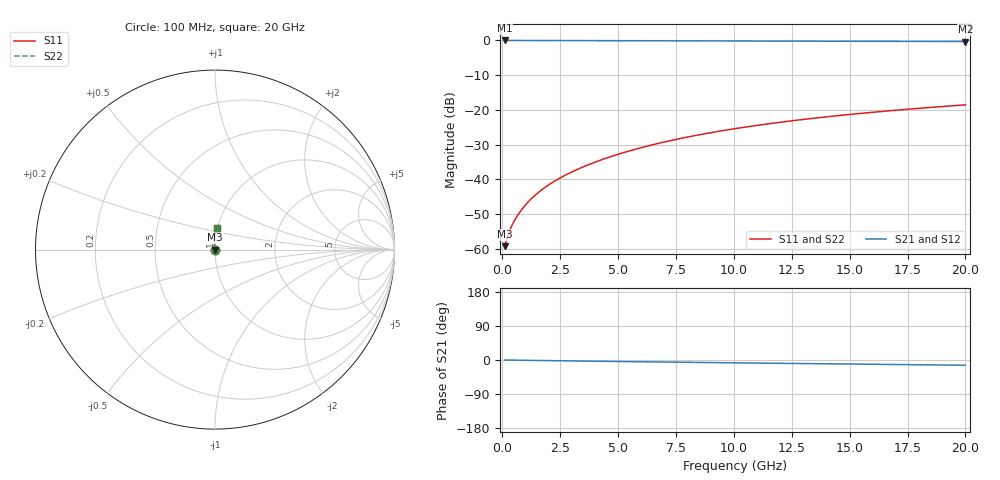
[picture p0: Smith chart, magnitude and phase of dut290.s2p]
! Touchstone file exported from HFSS 2024.1.0
!  File:  C:/UserFiles/LocalFiles/RDL_TSV_Batchsim/temp_RDL_bottom_290_1778703355.aedt
!  Generated:  04:18:20 AM May 14, 2026
!  Design:  RDL_bottom
!  Project:  temp_RDL_bottom_290_1778703355
!  Setup:  Setup1
!  Solution:  Sweep
! Variables:
!  dtsv = 10.80580581um
!  hbump = 3um
!  htsv = 55.9um
!  ldown = 202.14um
!  lrdl = 100um
!  p = 40
!  p1 = 44.33um
!  rhole = 1um
!  t = 450um
!  tdown = 3.55um
!  trdl = 3.915915916um
!  wdown = 28.42um
!  wrdl = 20um
# GHz S MA R 50.000000
! Terminal data exported
! Port[1] = RDL1_T1
! Port[2] = RDL1_T2
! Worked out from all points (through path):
!   200 points, 100 MHz to 20 GHz, reference 50 ohm
!   highest |S21| = -0.01 dB at 100 MHz (marker M1); lowest = -0.3 dB at 20 GHz (marker M2)
!   group delay of S21, straight-line fit = 1.88 ps
!   lowest |S11| = -59.2 dB at 100 MHz (marker M3), VSWR 1.00, Z = 50.1 + j0.0511 ohm
!   |S11| at or under -10 dB: start of sweep to end of sweep
!   |S22| runs from -59.2 to -18.5 dB; largest |S21 - S12| = 1.1e-14
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0.1  0.001095 27.7  0.999 -0.1  0.999 -0.1  0.001095 27.7
! Gamma 0 0 0 0
! Port Impedance 50 0 50 0
0.2  0.001421 43.2  0.9989 -0.2  0.9989 -0.2  0.001421 43.2
0.3  0.001771 51.8  0.9989 -0.3  0.9989 -0.3  0.001771 51.8
0.4  0.002118 57.6  0.9988 -0.3  0.9988 -0.3  0.002118 57.6
0.5  0.002465 62.1  0.9987 -0.4  0.9987 -0.4  0.002465 62.1
0.8  0.003542 71.4  0.9985 -0.7  0.9985 -0.7  0.003542 71.4
1  0.004292 75.5  0.9984 -0.8  0.9984 -0.8  0.004292 75.5
1.2  0.005065 78.6  0.9982 -1.0  0.9982 -1.0  0.005065 78.6
1.7  0.007078 84.0  0.9977 -1.4  0.9977 -1.4  0.007078 84.0
2.2  0.009196 87.5  0.9971 -1.8  0.9971 -1.8  0.009196 87.5
2.8  0.01187 90.5  0.9962 -2.3  0.9962 -2.3  0.01187 90.5
3.5  0.01519 92.8  0.9949 -2.9  0.9949 -2.9  0.01519 92.8
4.2  0.01872 94.4  0.9935 -3.4  0.9935 -3.4  0.01872 94.4
5  0.02299 95.6  0.9918 -4.0  0.9918 -4.0  0.02299 95.6
5.9  0.02806 96.2  0.9898 -4.7  0.9898 -4.7  0.02806 96.2
6.8  0.03336 96.4  0.9877 -5.3  0.9877 -5.3  0.03336 96.4
8.4  0.04322 95.8  0.9842 -6.4  0.9842 -6.4  0.04323 95.8
10.1  0.05408 94.7  0.9807 -7.5  0.9807 -7.5  0.05409 94.7
11.7  0.06448 93.3  0.9776 -8.6  0.9776 -8.6  0.06449 93.3
13.4  0.0756 91.7  0.9747 -9.7  0.9747 -9.7  0.0756 91.7
16.7  0.09709 88.4  0.9694 -11.8  0.9694 -11.8  0.0971 88.4
20  0.1183 85.3  0.9646 -13.8  0.9646 -13.8  0.1183 85.3
